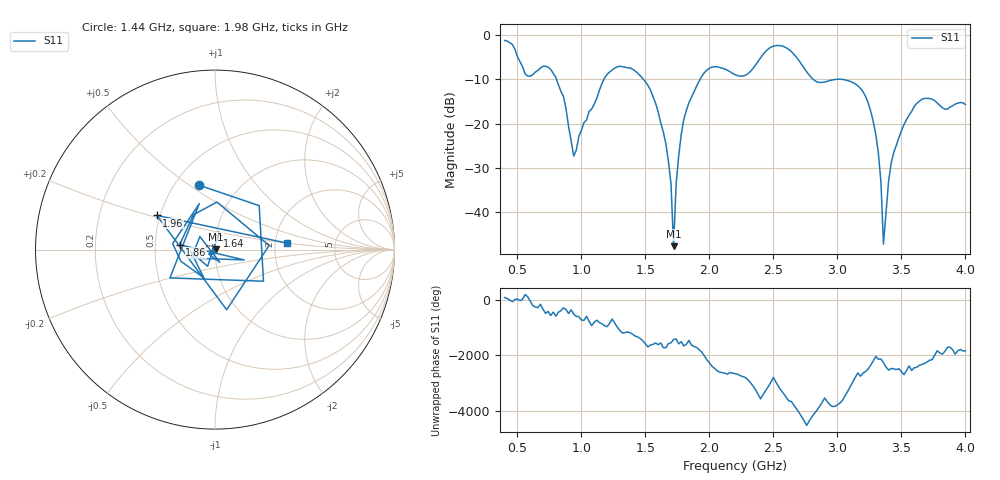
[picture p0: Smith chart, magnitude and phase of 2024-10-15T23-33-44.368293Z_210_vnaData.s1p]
! Created with skrf (http://scikit-rf.org).
# Hz S RI R 50.0
!freq ReS11 ImS11
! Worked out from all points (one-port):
!   181 points, 400 MHz to 4 GHz, reference 50 ohm
!   lowest |S11| = -47.8 dB at 1.72 GHz (marker M1), VSWR 1.01, Z = 50.4 + j0.0862 ohm
!   |S11| at or under -10 dB: 805.6 MHz to 1.175 GHz (369.9 MHz wide, 37.3 % of centre); 1.485 GHz to 1.927 GHz (442.6 MHz wide, 25.9 % of centre); 3.036 GHz to end of sweep (the widest 3 of 4)
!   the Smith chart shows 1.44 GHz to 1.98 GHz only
!   S11 on the Smith chart (normalised r, x): 1.44 GHz: 0.65, +0.54; 1.64 GHz: 1.02, +0.16; 1.86 GHz: 0.67, +0.04; 1.96 GHz: 0.48, +0.21; 1.98 GHz: 2.32, +0.20
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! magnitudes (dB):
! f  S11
! 400 MHz  -1.2
! 580 MHz  -9.3
! 760 MHz  -7.7
! 860 MHz  -13.9
! 940 MHz  -27.4
! 1.18 GHz  -9.7
! 1.3 GHz  -7.0
! 1.44 GHz  -8.6
! 1.64 GHz  -21.9
! 1.7 GHz  -33.6
! 1.72 GHz  -47.8
! 1.74 GHz  -33.7
! 1.76 GHz  -27.4
! 1.86 GHz  -14.0
! 1.96 GHz  -8.5
! 1.98 GHz  -7.9
! 2.2 GHz  -8.9
! 2.5 GHz  -2.5
! 2.66 GHz  -4.3
! 2.84 GHz  -10.6
! 3.1 GHz  -10.5
! 3.28 GHz  -19.5
! 3.34 GHz  -33.1
! 3.36 GHz  -47.3
! 3.42 GHz  -29.0
! 3.56 GHz  -18.1
! 3.68 GHz  -14.3
! 4 GHz  -15.7
